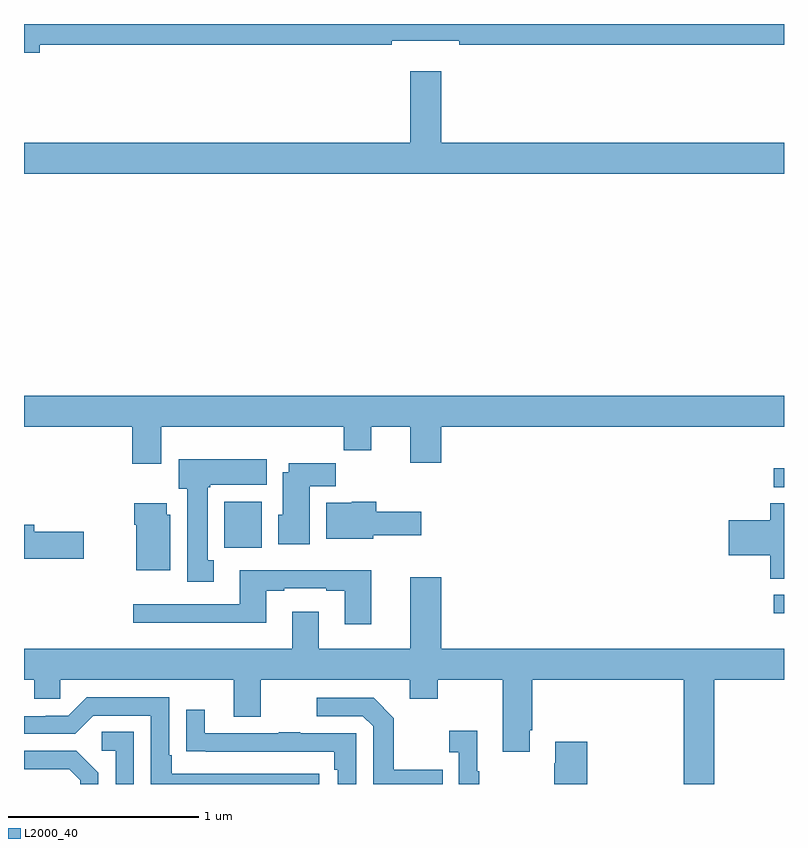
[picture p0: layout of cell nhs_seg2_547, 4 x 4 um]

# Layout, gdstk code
import gdstk
lib = gdstk.Library(unit=1e-6, precision=1e-09)
def R(c, l, rs):  # rectangles x0, y0, x1, y1
    for r in rs: c.add(gdstk.rectangle(r[:2], r[2:], *l))
def P(c, l, *ps):  # polygons
    for p in ps: c.add(gdstk.Polygon(p, *l))
L2000_40 = (2000, 40)

nhs_seg2_547 = lib.new_cell('nhs_seg2_547')
R(nhs_seg2_547, L2000_40, [(142.947,602.7,143,602.796), (140.054,603.044,140.251,603.286), (142.947,603.363,143,603.462)])
P(nhs_seg2_547, L2000_40, [(139.084,605.692),(140.936,605.692),(140.936,605.711),(141.292,605.711),(141.292,605.692),(143,605.692),(143,605.8),(139,605.8),(139,605.65),(139.084,605.65)],
  [(143,605.176),(141.196,605.176),(141.196,605.551),(141.032,605.551),(141.032,605.176),(139,605.176),(139,605.012),(143,605.012)],
  [(139.723,603.68),(140.683,603.68),(140.683,603.556),(140.827,603.556),(140.827,603.68),(141.032,603.68),(141.032,603.492),(141.196,603.492),(141.196,603.68),(143,603.68),(143,603.844),(139,603.844),(139,603.68),(139.571,603.68),(139.571,603.486),(139.723,603.486)],
  [(139.999,602.978),(139.966,602.978),(139.966,603.361),(139.98,603.361),(139.98,603.374),(140.278,603.374),(140.278,603.508),(139.814,603.508),(139.814,603.354),(139.859,603.354),(139.859,602.865),(139.999,602.865)],
  [(140.503,603.368),(140.642,603.368),(140.642,603.487),(140.393,603.487),(140.393,603.442),(140.363,603.442),(140.363,603.216),(140.339,603.216),(140.339,603.062),(140.503,603.062)],
  [(140.838,603.11),(141.091,603.11),(141.091,603.232),(140.855,603.232),(140.855,603.286),(140.724,603.286),(140.724,603.28),(140.591,603.28),(140.591,603.092),(140.838,603.092)],
  [(143,603.278),(142.928,603.278),(142.928,603.188),(142.71,603.188),(142.71,603.005),(142.928,603.005),(142.928,602.881),(143,602.881)],
  [(139.771,603.216),(139.75,603.216),(139.75,603.277),(139.58,603.277),(139.58,603.164),(139.592,603.164),(139.592,602.924),(139.771,602.924)],
  [(139.315,603.128),(139.054,603.128),(139.054,603.164),(139,603.164),(139,602.986),(139.315,602.986)],
  [(140.827,602.926),(140.135,602.926),(140.135,602.745),(139.575,602.745),(139.575,602.648),(140.275,602.648),(140.275,602.817),(140.371,602.817),(140.371,602.829),(140.591,602.829),(140.591,602.817),(140.687,602.817),(140.687,602.64),(140.827,602.64)],
  [(142.632,602.348),(143,602.348),(143,602.512),(141.196,602.512),(141.196,602.887),(141.032,602.887),(141.032,602.512),(140.551,602.512),(140.551,602.707),(140.411,602.707),(140.411,602.512),(139,602.512),(139,602.348),(139.053,602.348),(139.053,602.25),(139.191,602.25),(139.191,602.348),(140.105,602.348),(140.105,602.154),(140.245,602.154),(140.245,602.348),(141.029,602.348),(141.029,602.249),(141.177,602.249),(141.177,602.348),(141.521,602.348),(141.521,601.971),(141.661,601.971),(141.661,602.083),(141.674,602.083),(141.674,602.348),(142.472,602.348),(142.472,601.8),(142.632,601.8)],
  [(140.554,601.854),(139.777,601.854),(139.777,601.951),(139.764,601.951),(139.764,602.256),(139.329,602.256),(139.233,602.16),(139.115,602.16),(139.115,602.157),(139,602.157),(139,602.064),(139.269,602.064),(139.365,602.16),(139.668,602.16),(139.668,601.8),(140.554,601.8)],
  [(141.203,601.875),(140.947,601.875),(140.947,602.147),(140.841,602.253),(140.541,602.253),(140.541,602.157),(140.784,602.157),(140.838,602.103),(140.838,601.8),(141.203,601.8)],
  [(140.748,602.067),(140.453,602.067),(140.453,602.072),(140.341,602.072),(140.341,602.067),(139.951,602.067),(139.951,602.191),(139.855,602.191),(139.855,601.972),(139.957,601.972),(139.957,601.971),(140.632,601.971),(140.632,601.874),(140.652,601.874),(140.652,601.8),(140.748,601.8)],
  [(141.397,601.867),(141.385,601.867),(141.385,602.08),(141.237,602.08),(141.237,601.967),(141.288,601.967),(141.288,601.8),(141.397,601.8)],
  [(139.578,602.075),(139.41,602.075),(139.41,601.974),(139.482,601.974),(139.482,601.8),(139.578,601.8)],
  [(141.965,602.023),(141.797,602.023),(141.797,601.91),(141.79,601.91),(141.79,601.8),(141.965,601.8)],
  [(139.392,601.858),(139.276,601.974),(139,601.974),(139,601.878),(139.238,601.878),(139.295,601.821),(139.295,601.8),(139.392,601.8)])

lib.write_gds('nhs_seg2_547.gds')
